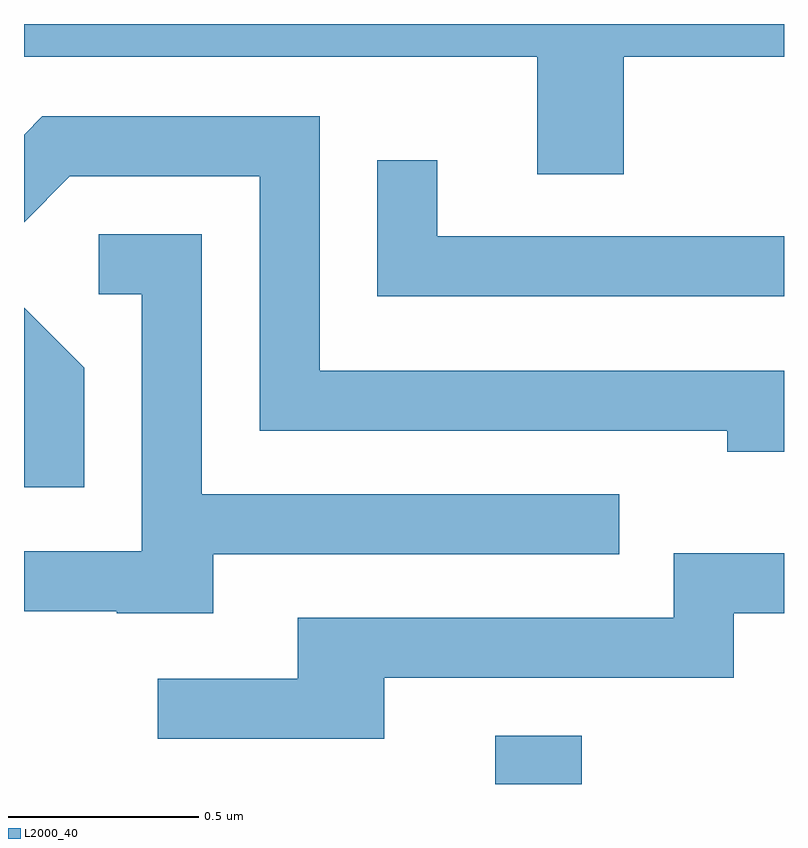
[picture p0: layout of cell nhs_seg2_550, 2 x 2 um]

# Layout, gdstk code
import gdstk
lib = gdstk.Library(unit=1e-6, precision=1e-09)
def R(c, l, rs):  # rectangles x0, y0, x1, y1
    for r in rs: c.add(gdstk.rectangle(r[:2], r[2:], *l))
def P(c, l, *ps):  # polygons
    for p in ps: c.add(gdstk.Polygon(p, *l))
L2000_40 = (2000, 40)

nhs_seg2_550 = lib.new_cell('nhs_seg2_550')
R(nhs_seg2_550, L2000_40, [(190.851,979.802,191.079,979.929)])
P(nhs_seg2_550, L2000_40, [(191.189,981.716),(191.611,981.716),(191.611,981.802),(189.611,981.802),(189.611,981.716),(190.961,981.716),(190.961,981.406),(191.189,981.406)],
  [(191.611,980.889),(190.389,980.889),(190.389,981.559),(189.659,981.559),(189.611,981.511),(189.611,981.28),(189.732,981.401),(190.231,981.401),(190.231,980.731),(191.461,980.731),(191.461,980.676),(191.611,980.676)],
  [(191.611,981.244),(190.699,981.244),(190.699,981.443),(190.541,981.443),(190.541,981.086),(191.611,981.086)],
  [(190.109,980.406),(191.178,980.406),(191.178,980.564),(190.079,980.564),(190.079,981.249),(189.808,981.249),(189.808,981.091),(189.921,981.091),(189.921,980.414),(189.611,980.414),(189.611,980.256),(189.855,980.256),(189.855,980.251),(190.109,980.251)],
  [(189.769,980.897),(189.611,981.055),(189.611,980.583),(189.769,980.583)],
  [(190.559,980.081),(191.479,980.081),(191.479,980.251),(191.611,980.251),(191.611,980.409),(191.321,980.409),(191.321,980.239),(190.331,980.239),(190.331,980.079),(189.963,980.079),(189.963,979.921),(190.559,979.921)])

lib.write_gds('nhs_seg2_550.gds')
